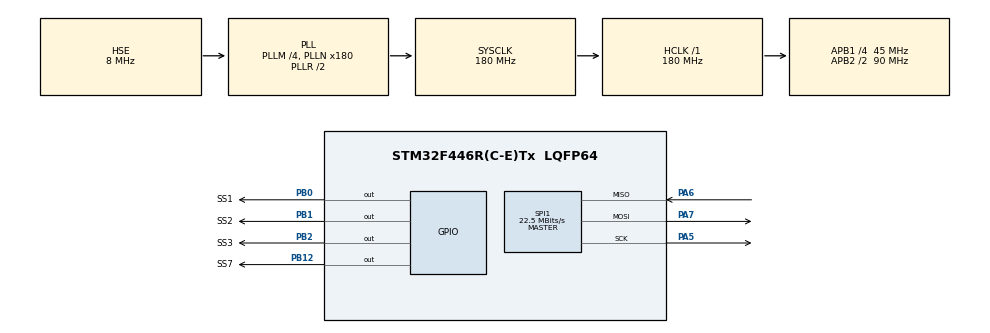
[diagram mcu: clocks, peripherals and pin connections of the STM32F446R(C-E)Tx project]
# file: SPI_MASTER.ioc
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Dma.Request0=SPI1_RX
Dma.Request1=SPI1_TX
Dma.SPI1_RX.0.Direction=DMA_PERIPH_TO_MEMORY
Dma.SPI1_RX.0.FIFOMode=DMA_FIFOMODE_DISABLE
Dma.SPI1_RX.0.Instance=DMA2_Stream0
Dma.SPI1_RX.0.MemDataAlignment=DMA_MDATAALIGN_BYTE
Dma.SPI1_RX.0.MemInc=DMA_MINC_ENABLE
Dma.SPI1_RX.0.Mode=DMA_NORMAL
Dma.SPI1_RX.0.PeriphDataAlignment=DMA_PDATAALIGN_BYTE
Dma.SPI1_RX.0.PeriphInc=DMA_PINC_DISABLE
Dma.SPI1_RX.0.Priority=DMA_PRIORITY_LOW
Dma.SPI1_TX.1.Direction=DMA_MEMORY_TO_PERIPH
Dma.SPI1_TX.1.FIFOMode=DMA_FIFOMODE_DISABLE
Dma.SPI1_TX.1.Instance=DMA2_Stream3
Dma.SPI1_TX.1.MemDataAlignment=DMA_MDATAALIGN_BYTE
Dma.SPI1_TX.1.MemInc=DMA_MINC_ENABLE
Dma.SPI1_TX.1.Mode=DMA_NORMAL
Dma.SPI1_TX.1.PeriphDataAlignment=DMA_PDATAALIGN_BYTE
Dma.SPI1_TX.1.PeriphInc=DMA_PINC_DISABLE
Dma.SPI1_TX.1.Priority=DMA_PRIORITY_LOW
Mcu.Family=STM32F4
Mcu.Name=STM32F446R(C-E)Tx
Mcu.Package=LQFP64
NVIC.DMA2_Stream0_IRQn=true\:0\:0\:false\:false\:true\:false\:true\:true
NVIC.DMA2_Stream3_IRQn=true\:0\:0\:false\:false\:true\:false\:true\:true
NVIC.PriorityGroup=NVIC_PRIORITYGROUP_4
NVIC.SPI1_IRQn=true\:0\:0\:false\:false\:true\:true\:true\:true
PA13.Mode=Serial_Wire
PA13.Signal=SYS_JTMS-SWDIO
PA14.Mode=Serial_Wire
PA14.Signal=SYS_JTCK-SWCLK
PA5.Mode=Full_Duplex_Master
PA5.Signal=SPI1_SCK
PA6.Mode=Full_Duplex_Master
PA6.Signal=SPI1_MISO
PA7.Mode=Full_Duplex_Master
PA7.Signal=SPI1_MOSI
PB0.GPIO_Label=SS1
PB0.Signal=GPIO_Output
PB1.GPIO_Label=SS2
PB1.Signal=GPIO_Output
PB12.GPIO_Label=SS7
PB12.Signal=GPIO_Output
PB2.GPIO_Label=SS3
PB2.Signal=GPIO_Output
PH0-OSC_IN.Mode=HSE-External-Oscillator
PH0-OSC_IN.Signal=RCC_OSC_IN
PH1-OSC_OUT.Mode=HSE-External-Oscillator
PH1-OSC_OUT.Signal=RCC_OSC_OUT
ProjectManager.HeapSize=0x200
ProjectManager.StackSize=0x400
ProjectManager.TargetToolchain=STM32CubeIDE
RCC.AHBFreq_Value=180000000
RCC.APB1CLKDivider=RCC_HCLK_DIV4
RCC.APB1Freq_Value=45000000
RCC.APB1TimFreq_Value=90000000
RCC.APB2CLKDivider=RCC_HCLK_DIV2
RCC.APB2Freq_Value=90000000
RCC.APB2TimFreq_Value=180000000
RCC.CortexFreq_Value=180000000
RCC.HCLKFreq_Value=180000000
RCC.HSE_VALUE=8000000
RCC.PLLM=4
RCC.PLLN=180
RCC.PLLSourceVirtual=RCC_PLLSOURCE_HSE
RCC.SYSCLKFreq_VALUE=180000000
RCC.SYSCLKSource=RCC_SYSCLKSOURCE_PLLRCLK
RCC.USBFreq_Value=180000000
RCC.VCOOutputFreq_Value=360000000
SPI1.BaudRatePrescaler=SPI_BAUDRATEPRESCALER_4
SPI1.CalculateBaudRate=22.5 MBits/s
SPI1.Direction=SPI_DIRECTION_2LINES
SPI1.Mode=SPI_MODE_MASTER
SPI1.VirtualType=VM_MASTER
board=custom

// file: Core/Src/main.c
/* USER CODE BEGIN Header */
/**
  ******************************************************************************
  * @file           : main.c
  * @brief          : Main program body
  ******************************************************************************
  * @attention
  *
  * Copyright (c) 2023 STMicroelectronics.
  * All rights reserved.
  *
  * This software is licensed under terms that can be found in the LICENSE file
  * in the root directory of this software component.
  * If no LICENSE file comes with this software, it is provided AS-IS.
  *
  ******************************************************************************
  */
/* USER CODE END Header */
#include "main.h"
#include "dma.h"
#include "spi.h"
#include "gpio.h"

/* USER CODE BEGIN PV */
volatile uint8_t selector;
uint8_t TxData[5]={0x01,0x02,0x03,0x04,0x05};
uint8_t RxData[5];
/* USER CODE END PV */

void SystemClock_Config(void);
/* USER CODE BEGIN PFP */
void HAL_SPI_TxRxCpltCallback(SPI_HandleTypeDef *hspi)
{
	if(selector==1){
		HAL_GPIO_WritePin(SS1_GPIO_Port, SS1_Pin, 1);
		selector++;
	}
	else if(selector==3){
		HAL_GPIO_WritePin(SS2_GPIO_Port, SS2_Pin, 1);
		selector++;
	}
}
/* USER CODE END PFP */

int main(void)
{

  /* MCU Configuration--------------------------------------------------------*/

  /* Reset of all peripherals, Initializes the Flash interface and the Systick. */
  HAL_Init();

  /* Configure the system clock */
  SystemClock_Config();

  /* Initialize all configured peripherals */
  MX_GPIO_Init();
  MX_DMA_Init();
  MX_SPI1_Init();
  /* USER CODE BEGIN 2 */
  uint32_t softTimer=HAL_GetTick();
  /* USER CODE END 2 */

  /* Infinite loop */
  /* USER CODE BEGIN WHILE */
  while (1)
  {
	  if(HAL_GetTick()-softTimer>10){
		  if(selector==0){
			  HAL_GPIO_WritePin(SS1_GPIO_Port, SS1_Pin, 0);
			  HAL_SPI_TransmitReceive_DMA(&hspi1, TxData, RxData, 5);
			  selector++;
		  }
		  else  if(selector==2){
			  HAL_GPIO_WritePin(SS2_GPIO_Port, SS2_Pin, 0);
			  HAL_SPI_TransmitReceive_DMA(&hspi1, TxData, RxData, 5);
			  selector++;
		  }
		  else selector=0;

	  }
    /* USER CODE END WHILE */

  }
}

void SystemClock_Config(void)
{
  RCC_OscInitTypeDef RCC_OscInitStruct = {0};
  RCC_ClkInitTypeDef RCC_ClkInitStruct = {0};

  /** Configure the main internal regulator output voltage
  */
  __HAL_RCC_PWR_CLK_ENABLE();
  __HAL_PWR_VOLTAGESCALING_CONFIG(PWR_REGULATOR_VOLTAGE_SCALE1);

  /** Initializes the RCC Oscillators according to the specified parameters
  * in the RCC_OscInitTypeDef structure.
  */
  RCC_OscInitStruct.OscillatorType = RCC_OSCILLATORTYPE_HSE;
  RCC_OscInitStruct.HSEState = RCC_HSE_ON;
  RCC_OscInitStruct.PLL.PLLState = RCC_PLL_ON;
  RCC_OscInitStruct.PLL.PLLSource = RCC_PLLSOURCE_HSE;
  RCC_OscInitStruct.PLL.PLLM = 4;
  RCC_OscInitStruct.PLL.PLLN = 180;
  RCC_OscInitStruct.PLL.PLLP = RCC_PLLP_DIV2;
  RCC_OscInitStruct.PLL.PLLQ = 2;
  RCC_OscInitStruct.PLL.PLLR = 2;
  if (HAL_RCC_OscConfig(&RCC_OscInitStruct) != HAL_OK)
  {
    Error_Handler();
  }

  /** Activate the Over-Drive mode
  */
  if (HAL_PWREx_EnableOverDrive() != HAL_OK)
  {
    Error_Handler();
  }

  /** Initializes the CPU, AHB and APB buses clocks
  */
  RCC_ClkInitStruct.ClockType = RCC_CLOCKTYPE_HCLK|RCC_CLOCKTYPE_SYSCLK
                              |RCC_CLOCKTYPE_PCLK1|RCC_CLOCKTYPE_PCLK2;
  RCC_ClkInitStruct.SYSCLKSource = RCC_SYSCLKSOURCE_PLLRCLK;
  RCC_ClkInitStruct.AHBCLKDivider = RCC_SYSCLK_DIV1;
  RCC_ClkInitStruct.APB1CLKDivider = RCC_HCLK_DIV4;
  RCC_ClkInitStruct.APB2CLKDivider = RCC_HCLK_DIV2;

  if (HAL_RCC_ClockConfig(&RCC_ClkInitStruct, FLASH_LATENCY_5) != HAL_OK)
  {
    Error_Handler();
  }
}

void Error_Handler(void)
{
  __disable_irq();
  while (1)
  {
  }
}
